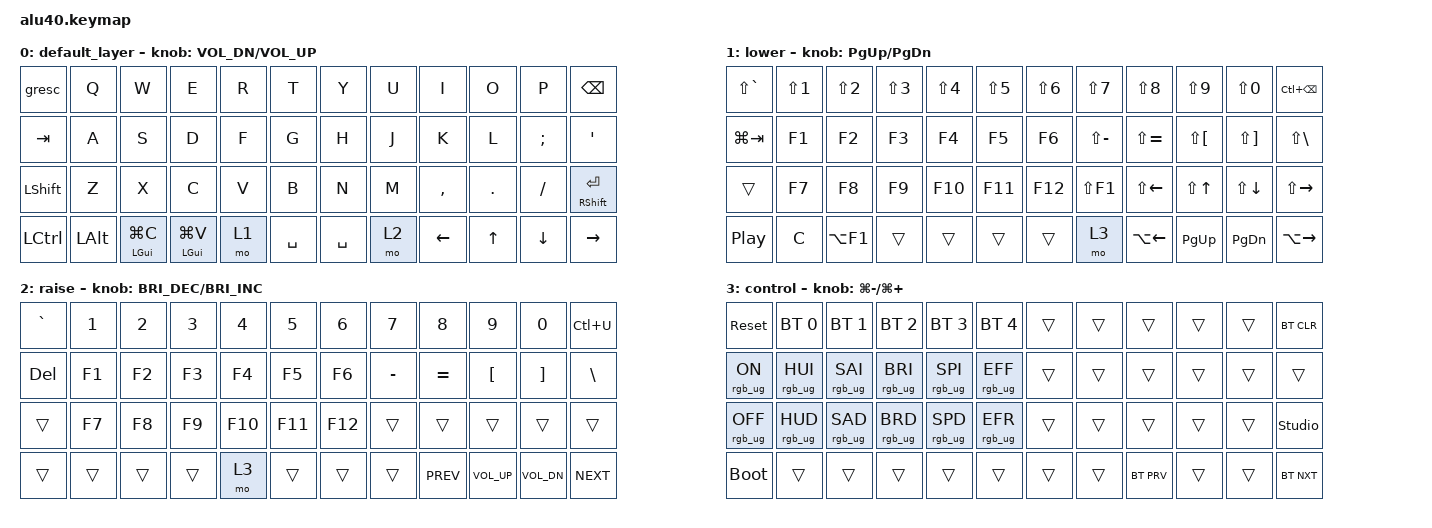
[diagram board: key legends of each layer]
/*
 * Copyright (c) 2022 The ZMK Contributors
 *
 * SPDX-License-Identifier: MIT
 */

#include <behaviors.dtsi>
#include <dt-bindings/zmk/keys.h>
#include <dt-bindings/zmk/bt.h>
#include <dt-bindings/zmk/rgb.h>

/ {
    keymap {
        compatible = "zmk,keymap";

        default_layer {
            // Synced from the keyboard via ZMK Studio, 2026-10-30.
            // -----------------------------------------------------------------------------------------
            // | ESC/~ |  Q   |  W   |  E   |  R   |  T   |   Y   |  U    |  I   |  O   |   P   | BSPC  |
            // | TAB   |  A   |  S   |  D   |  F   |  G   |   H   |  J    |  K   |  L   |   ;   |  '    |
            // | SHIFT |  Z   |  X   |  C   |  V   |  B   |   N   |  M    |  ,   |  .   |   /   |RET/SFT|
            // | LCTL  | LALT | COPY (hold CMD) | PASTE (hold CMD) | LOWR |  SPACE  | RAIS | LARW | UARW | DARW | RARW |

            bindings = <
                &gresc          &kp Q           &kp W           &kp E           &kp R           &kp T           &kp Y           &kp U           &kp I           &kp O           &kp P           &kp BSPC
                &kp TAB         &kp A           &kp S           &kp D           &kp F           &kp G           &kp H           &kp J           &kp K           &kp L           &kp SEMI        &kp SQT
                &kp LSHFT       &kp Z           &kp X           &kp C           &kp V           &kp B           &kp N           &kp M           &kp COMMA       &kp DOT         &kp FSLH        &mt RSHFT RET
                &kp LCTRL       &kp LALT        &mt LGUI LG(C)  &mt LGUI LG(V)  &mo 1           &kp SPACE       &kp SPACE       &mo 2           &kp LEFT        &kp UP          &kp DOWN        &kp RIGHT
            >;

            sensor-bindings = <&inc_dec_kp C_VOL_DN C_VOL_UP>;
        };

        lower {
            bindings = <
                &kp LS(GRAVE)  &kp LS(N1)     &kp LS(N2)     &kp LS(N3)     &kp LS(N4)     &kp LS(N5)     &kp LS(N6)     &kp LS(N7)     &kp LS(N8)     &kp LS(N9)     &kp LS(N0)     &kp LC(BSPC)
                &kp LG(TAB)    &kp F1         &kp F2         &kp F3         &kp F4         &kp F5         &kp F6         &kp LS(MINUS)  &kp LS(EQUAL)  &kp LS(LBKT)   &kp LS(RBKT)   &kp LS(BSLH)
                &trans         &kp F7         &kp F8         &kp F9         &kp F10        &kp F11        &kp F12        &kp LS(F1)     &kp LS(LEFT)   &kp LS(UP)     &kp LS(DOWN)   &kp LS(RIGHT)
                &kp C_PP       &kp C          &kp LA(F1)     &trans         &trans         &trans         &trans         &mo 3          &kp LA(LEFT)   &kp PG_UP      &kp PG_DN      &kp LA(RIGHT)
            >;

            sensor-bindings = <&inc_dec_kp PG_UP PG_DN>;
        };

        raise {
            bindings = <
                &kp GRAVE     &kp N1        &kp N2        &kp N3        &kp N4        &kp N5        &kp N6        &kp N7        &kp N8        &kp N9        &kp N0        &kp LC(U)
                &kp DEL       &kp F1        &kp F2        &kp F3        &kp F4        &kp F5        &kp F6        &kp MINUS     &kp EQUAL     &kp LBKT      &kp RBKT      &kp BSLH
                &trans        &kp F7        &kp F8        &kp F9        &kp F10       &kp F11       &kp F12       &trans        &trans        &trans        &trans        &trans
                &trans        &trans        &trans        &trans        &mo 3         &trans        &trans        &trans        &kp C_PREV    &kp C_VOL_UP  &kp C_VOL_DN  &kp C_NEXT
            >;

            sensor-bindings = <&inc_dec_kp C_BRI_DEC C_BRI_INC>;
        };

        control {
            bindings = <
                &sys_reset       &bt BT_SEL 0     &bt BT_SEL 1     &bt BT_SEL 2     &bt BT_SEL 3     &bt BT_SEL 4     &trans  &trans  &trans      &trans  &trans  &bt BT_CLR
                &rgb_ug RGB_ON   &rgb_ug RGB_HUI  &rgb_ug RGB_SAI  &rgb_ug RGB_BRI  &rgb_ug RGB_SPI  &rgb_ug RGB_EFF  &trans  &trans  &trans      &trans  &trans  &trans
                &rgb_ug RGB_OFF  &rgb_ug RGB_HUD  &rgb_ug RGB_SAD  &rgb_ug RGB_BRD  &rgb_ug RGB_SPD  &rgb_ug RGB_EFR  &trans  &trans  &trans      &trans  &trans  &studio_unlock
                &bootloader      &trans           &trans           &trans           &trans           &trans           &trans  &trans  &bt BT_PRV  &trans  &trans  &bt BT_NXT
            >;

            sensor-bindings = <&inc_dec_kp LG(MINUS) LG(PLUS)>;
        };
        extra1 {
            status = "reserved";
        };
        extra2 {
            status = "reserved";
        };
        extra3 {
            status = "reserved";
        };
        extra4 {
            status = "reserved";
        };
    };
};
